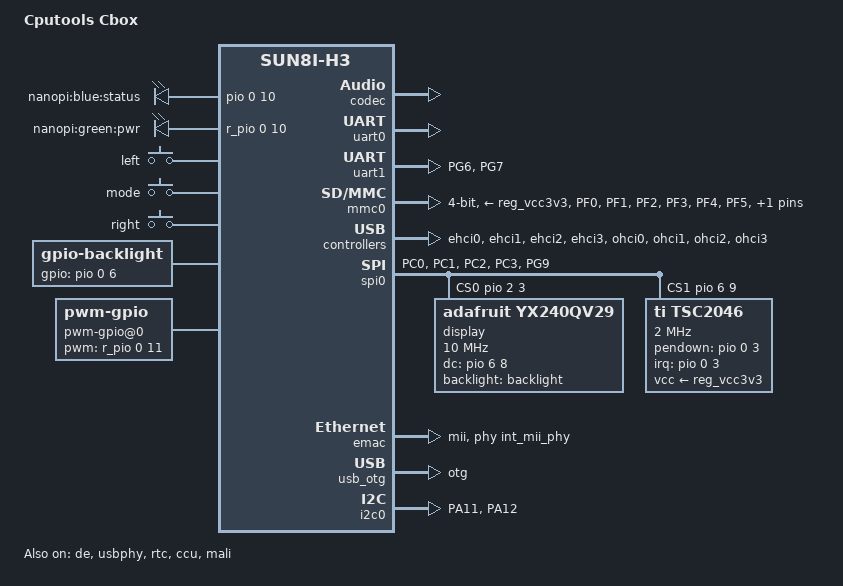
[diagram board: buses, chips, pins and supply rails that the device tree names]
/*
 * Copyright (C) 2016 James Pettigrew <james@innovum.com.au>
 *
 * This file is dual-licensed: you can use it either under the terms
 * of the GPL or the X11 license, at your option. Note that this dual
 * licensing only applies to this file, and not this project as a
 * whole.
 *
 *  a) This file is free software; you can redistribute it and/or
 *     modify it under the terms of the GNU General Public License as
 *     published by the Free Software Foundation; either version 2 of the
 *     License, or (at your option) any later version.
 *
 *     This file is distributed in the hope that it will be useful,
 *     but WITHOUT ANY WARRANTY; without even the implied warranty of
 *     MERCHANTABILITY or FITNESS FOR A PARTICULAR PURPOSE.  See the
 *     GNU General Public License for more details.
 *
 * Or, alternatively,
 *
 *  b) Permission is hereby granted, free of charge, to any person
 *     obtaining a copy of this software and associated documentation
 *     files (the "Software"), to deal in the Software without
 *     restriction, including without limitation the rights to use,
 *     copy, modify, merge, publish, distribute, sublicense, and/or
 *     sell copies of the Software, and to permit persons to whom the
 *     Software is furnished to do so, subject to the following
 *     conditions:
 *
 *     The above copyright notice and this permission notice shall be
 *     included in all copies or substantial portions of the Software.
 *
 *     THE SOFTWARE IS PROVIDED "AS IS", WITHOUT WARRANTY OF ANY KIND,
 *     EXPRESS OR IMPLIED, INCLUDING BUT NOT LIMITED TO THE WARRANTIES
 *     OF MERCHANTABILITY, FITNESS FOR A PARTICULAR PURPOSE AND
 *     NONINFRINGEMENT. IN NO EVENT SHALL THE AUTHORS OR COPYRIGHT
 *     HOLDERS BE LIABLE FOR ANY CLAIM, DAMAGES OR OTHER LIABILITY,
 *     WHETHER IN AN ACTION OF CONTRACT, TORT OR OTHERWISE, ARISING
 *     FROM, OUT OF OR IN CONNECTION WITH THE SOFTWARE OR THE USE OR
 *     OTHER DEALINGS IN THE SOFTWARE.
 */

#include "sun8i-h3-nanopi.dtsi"

#include <dt-bindings/pwm/pwm.h>
#include <dt-bindings/gpio/gpio.h>
#include <dt-bindings/input/input.h>

/ {
	model = "Cputools Cbox";
	compatible = "cputools,cbox", "allwinner,sun8i-h3";

	aliases {
		serial0 = &uart1;
		serial1 = &uart0;
		spi0 = &spi0;
	};

	chosen {
		stdout-path = "serial0:115200n8";
		/delete-node/ framebuffer@0;
	};

	cpu0_opp_table: opp_table0 {
		compatible = "operating-points-v2";
		opp-shared;

		opp-648000000 {
			opp-hz = /bits/ 64 <648000000>;
			opp-microvolt = <1040000 1040000 1300000>;
			clock-latency-ns = <244144>; /* 8 32k periods */
		};

		opp-816000000 {
			opp-hz = /bits/ 64 <816000000>;
			opp-microvolt = <1100000 1100000 1300000>;
			clock-latency-ns = <244144>; /* 8 32k periods */
		};

		opp-1008000000 {
			opp-hz = /bits/ 64 <1008000000>;
			opp-microvolt = <1200000 1200000 1300000>;
			clock-latency-ns = <244144>; /* 8 32k periods */
		};
	};

	cpus {
		#address-cells = <1>;
		#size-cells = <0>;

		cpu0: cpu@0 {
			compatible = "arm,cortex-a7";
			device_type = "cpu";
			reg = <0>;
			clocks = <&ccu CLK_CPUX>;
			clock-names = "cpu";
			operating-points-v2 = <&cpu0_opp_table>;
			#cooling-cells = <2>;
		};

		cpu1: cpu@1 {
			compatible = "arm,cortex-a7";
			device_type = "cpu";
			reg = <1>;
			clocks = <&ccu CLK_CPUX>;
			clock-names = "cpu";
			operating-points-v2 = <&cpu0_opp_table>;
			#cooling-cells = <2>;
		};

		cpu2: cpu@2 {
			compatible = "arm,cortex-a7";
			device_type = "cpu";
			reg = <2>;
			clocks = <&ccu CLK_CPUX>;
			clock-names = "cpu";
			operating-points-v2 = <&cpu0_opp_table>;
			#cooling-cells = <2>;
		};

		cpu3: cpu@3 {
			compatible = "arm,cortex-a7";
			device_type = "cpu";
			reg = <3>;
			clocks = <&ccu CLK_CPUX>;
			clock-names = "cpu";
			operating-points-v2 = <&cpu0_opp_table>;
			#cooling-cells = <2>;
		};
	};

	soc {
		codec: codec@1c22c00 {
			#sound-dai-cells = <0>;
			compatible = "allwinner,sun8i-h3-codec";
			reg = <0x01c22c00 0x400>;
			interrupts = <GIC_SPI 29 IRQ_TYPE_LEVEL_HIGH>;
			clocks = <&ccu CLK_BUS_CODEC>, <&ccu CLK_AC_DIG>;
			clock-names = "apb", "codec";
			resets = <&ccu RST_BUS_CODEC>;
			dmas = <&dma 15>, <&dma 15>;
			dma-names = "rx", "tx";
			allwinner,codec-analog-controls = <&codec_analog>;
			status = "disabled";
		};

		codec_analog: codec-analog@1f015c0 {
			compatible = "allwinner,sun8i-h3-codec-analog";
			reg = <0x01f015c0 0x4>;
		};

		syscon: system-control@1c00000 {
			compatible = "allwinner,sun8i-h3-system-control";
			reg = <0x01c00000 0x1000>;
			#address-cells = <1>;
			#size-cells = <1>;
			ranges;

			sram_c: sram@1d00000 {
				compatible = "mmio-sram";
				reg = <0x01d00000 0x80000>;
				#address-cells = <1>;
				#size-cells = <1>;
				ranges = <0 0x01d00000 0x80000>;

				ve_sram: sram-section@0 {
					compatible = "allwinner,sun8i-h3-sram-c1",
						     "allwinner,sun4i-a10-sram-c1";
					reg = <0x000000 0x80000>;
				};
			};
		};

		video-codec@1c0e000 {
			compatible = "allwinner,sun8i-h3-video-engine","allwinner,sun8i-h3-cedar";
			reg = <0x01c0e000 0x1000>;
			clocks = <&ccu CLK_BUS_VE>, <&ccu CLK_VE>,
				 <&ccu CLK_DRAM_VE>;
			clock-names = "ahb", "mod", "ram";
			resets = <&ccu RST_BUS_VE>;
			interrupts = <GIC_SPI 58 IRQ_TYPE_LEVEL_HIGH>;
			allwinner,sram = <&ve_sram 1>;

		};
		
		ion: ion {
		    compatible = "allwinner,sunxi-ion";
        	status = "disabled";
        	heap_cma@0{
          		compatible = "allwinner,cma";
          		heap-name  = "cma";
          		heap-id    = <0x4>;
          		heap-base  = <0x0>;
          		heap-size  = <0x0>;
          		heap-type  = "ion_cma";
         	};
       	};

		mali: gpu@1c40000 {
			compatible = "allwinner,sun8i-h3-mali", "arm,mali-400";
			reg = <0x01c40000 0x10000>;
			interrupts = <GIC_SPI 97 IRQ_TYPE_LEVEL_HIGH>,
				     <GIC_SPI 98 IRQ_TYPE_LEVEL_HIGH>,
				     <GIC_SPI 99 IRQ_TYPE_LEVEL_HIGH>,
				     <GIC_SPI 100 IRQ_TYPE_LEVEL_HIGH>,
				     <GIC_SPI 102 IRQ_TYPE_LEVEL_HIGH>,
				     <GIC_SPI 103 IRQ_TYPE_LEVEL_HIGH>,
				     <GIC_SPI 101 IRQ_TYPE_LEVEL_HIGH>;
			interrupt-names = "gp",
					  "gpmmu",
					  "pp0",
					  "ppmmu0",
					  "pp1",
					  "ppmmu1",
					  "pmu";
			clocks = <&ccu CLK_BUS_GPU>, <&ccu CLK_GPU>;
			clock-names = "bus", "core";
			resets = <&ccu RST_BUS_GPU>;

			assigned-clocks = <&ccu CLK_GPU>;
			assigned-clock-rates = <384000000>;
		};
	};

	leds {
		compatible = "gpio-leds";

		status {
			label = "nanopi:blue:status";
			gpios = <&pio 0 10 GPIO_ACTIVE_HIGH>;
			linux,default-trigger = "heartbeat";
		};

		pwr {
			label = "nanopi:green:pwr";
			gpios = <&r_pio 0 10 GPIO_ACTIVE_HIGH>;
			default-state = "on";
			linux,default-trigger = "timer";
		};
	};

	gpio-keys {
		compatible = "gpio-keys";
		#address-cells = <1>;
		#size-cells = <0>;
		autorepeat;

		switch@0 {
			label = "left";
			linux,code = <103>;
			interrupt-parent = <&pio>;
			interrupts = <0 2 IRQ_TYPE_EDGE_BOTH>; // PA2
		};

		switch@1 {
			label = "mode";
			linux,code = <104>;
			interrupt-parent = <&pio>;
			interrupts = <6 11 IRQ_TYPE_EDGE_BOTH>; // PG11
		};

		switch@2 {
			label = "right";
			linux,code = <105>;
			interrupt-parent = <&pio>;
			interrupts = <0 4 IRQ_TYPE_EDGE_BOTH>;// PA4
		};
	};

	backlight: backlight {
		compatible = "gpio-backlight";
		pinctrl-names = "default";
		pinctrl-0 = <&backlight_pins>;

		gpios = <&pio 0 6 GPIO_ACTIVE_HIGH>; // PA6
		backlight-boot-on;
	};

	pwm-gpio@0 {
		compatible = "pwm-gpio";
		reg = <0>;
		#pwm-cells = <3>;
		pwm-gpio = <&r_pio 0 11 GPIO_ACTIVE_HIGH>; // PL11
	};
};

&uart0 {
	pinctrl-names = "default";
	pinctrl-0 = <&uart0_pa_pins>;
	status = "okay";
};

&pwm {
	pinctrl-names = "default";
	pinctrl-0 = <&pwm0_pins_pa>;
	status = "disabled";
};

&uart1 {
	pinctrl-names = "default";
	pinctrl-0 = <&uart1_pins_pa>;
	status = "okay";
};

&de {
	status = "okay";
};

&mmc0 {
	pinctrl-0 = <&mmc0_pins_pa>;
	pinctrl-names = "default";
	bus-width = <4>;
	cd-gpios = <&pio 5 6 GPIO_ACTIVE_LOW>;
	status = "okay";
	vmmc-supply = <&reg_vcc3v3>;
};

&ehci0 {
	status = "okay";
};

&ehci1 {
	status = "okay";
};

&ehci2 {
	status = "okay";
};

&ehci3 {
	status = "okay";
};

&spi0 {
	#address-cells = <1>;
	#size-cells = <0>;
    pinctrl-names = "default";
    pinctrl-0 = <&spi0_pins &spi0_pins_cs1>;
	spi-num-chipselects = <2>;
	cs-gpios = <&pio 2 3 GPIO_ACTIVE_HIGH>, <&pio 6 9 GPIO_ACTIVE_HIGH>; // PC3 PG9
    status = "okay";

	display@0{
		compatible = "adafruit,yx240qv29", "ilitek,ili9341";
		reg = <0>;
		status = "okay";
		spi-max-frequency = <10000000>;
		dc-gpios = <&pio 6 8 GPIO_ACTIVE_HIGH>;// PG8
		rotate = <270>;
		bgr;
		fps = <30>;
		buswidth = <8>;
		backlight = <&backlight>;
	};

	tsc2046@1 {
		reg = <1>;	/* CS1 */
		compatible = "ti,tsc2046";
		pinctrl-names = "default";
		pinctrl-0 = <&t_irq>;
		interrupt-parent = <&pio>;
		interrupts = <0 3 IRQ_TYPE_EDGE_FALLING>;	//PA3
		spi-max-frequency = <2000000>;
		pendown-gpio = <&pio 0 3 GPIO_ACTIVE_HIGH>;
		vcc-supply = <&reg_vcc3v3>;

		ti,x-min = /bits/ 16 <0>;
		ti,x-max = /bits/ 16 <3800>;
		ti,y-min = /bits/ 16 <0>;
		ti,y-max = /bits/ 16 <4000>;
		ti,x-plate-ohms = /bits/ 16 <40>;
		ti,pressure-max = /bits/ 16 <255>;
		wakeup-source;
		status = "okay";
	};
};

&emac {
	phy-handle = <&int_mii_phy>;
	phy-mode = "mii";
	allwinner,leds-active-low;
	local-mac-address = [a4 51 29 00 00 0c];
	status = "okay";
};

&ohci0 {
	status = "okay";
};

&ohci1 {
	status = "okay";
};

&ohci2 {
	status = "okay";
};

&ohci3 {
	status = "okay";
};

&usb_otg {
	status = "okay";
	dr_mode = "otg";
};

&usbphy {
	usb0_id_det-gpios = <&pio 6 12 GPIO_ACTIVE_HIGH>; /* PG12 */
	status = "okay";
};

&rtc {
	status = "okay";
};

&pio {
	uart0_pins_pa: uart0-pa-pins {
		pins = "PA4", "PA5";
		function = "uart0";
	};

	uart1_pins_pa: uart1-pins {
		pins = "PG6", "PG7";
		function = "uart1";
	};

	mmc0_pins_pa: mmc0-pins {
		pins = "PF0", "PF1", "PF2", "PF3",
				"PF4", "PF5";
		function = "mmc0";
		drive-strength = <30>;
		bias-pull-up;
	};

	spi0_pins: spi0-pins {
		pins = "PC0", "PC1", "PC2", "PC3";
		function = "spi0";
   	};

	spi0_pins_cs1: spi0_pins_cs1 {
		pins = "PC3", "PG9";
		function = "gpio_out";
	};

	pwm0_pins_pa: pwm0 {
        pins = "PA5";
        function = "pwm0";
		drive-strength = <30>;
	};

	backlight_pins: backlight-pins {
		pins = "PA6";
		function = "gpio_out";
		drive-strength = <30>;
	};

	i2c0_pins: i2c0-pins {
		pins = "PA11", "PA12";
		function = "i2c0";
		bias-pull-up;
	};

	t_irq: t_irq-pins {
		pins = "PA3";
		function = "gpio_in";
	};
};

&codec {
	allwinner,audio-routing =
		"Line Out", "LINEOUT",
		"MIC1", "Mic",
		"Mic",  "MBIAS";
	status = "okay";
};

&mali {
    status = "okay";
};

&ion {
    status = "okay";
};

&ccu {
	status = "okay";
};

&i2c0 {
	status = "okay";
	pinctrl-names = "default";
    pinctrl-0 = <&i2c0_pins>;

	mpu6050@68 {
		compatible = "invensense,mpu6050";
		reg = <0x68>;
		status = "disabled";
		interrupt-parent = <&pio>;
		interrupts = <0 17 IRQ_TYPE_EDGE_RISING>; // PA17
		mount-matrix = "-0.984807753012208",  /* x0 */
		               "0",                   /* y0 */
		               "-0.173648177666930",  /* z0 */
		               "0",                   /* x1 */
		               "-1",                  /* y1 */
		               "0",                   /* z1 */
		               "-0.173648177666930",  /* x2 */
		               "0",                   /* y2 */
		               "0.984807753012208";   /* z2 */
	};

	mpu9250: imu@68 {
		compatible = "invensense,mpu9250";
		reg = <0x68>;
		status = "disabled";
		interrupt-parent = <&pio>;
		interrupts = <0 17 IRQ_TYPE_EDGE_RISING>;
		i2c-gate {
			#address-cells = <1>;
			#size-cells = <0>;
			ax8975@c {
				compatible = "ak,ak8975";
				reg = <0x0c>;
			};
		};
		/*invensense,int_config = <0x10>;
		invensense,level_shifter = <0>;
		invensense,orientation = [01 00 00 00 01 00 00 00 01];
		invensense,sec_slave_type = <0>;
		invensense,key = [4e cc 7e eb f6 1e 35 22 00 34 0d 65 32 e9 94 89];*/
	};

	bmp280: pressure@76 {
		compatible = "bosch,bmp280";
		reg = <0x76>;
		status = "disabled";
	};
};
